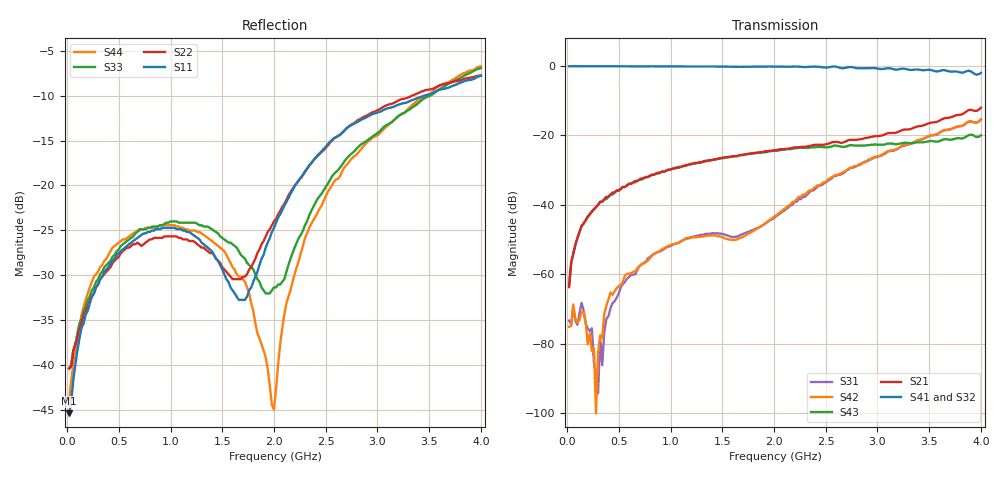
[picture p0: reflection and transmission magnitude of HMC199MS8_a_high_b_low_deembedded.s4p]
!Hittite Microwave Corporation
!12 Elizabeth Drive
!Chelmsford, MA 01824
!Tel: 978-250-3343
!Fax: 978-250-3373
!Device: HMC199MS8, DC-2.5GHz GaAs dual SPDT switch in 8 lead plastic surface mount Mini Small Outline Package
!Misc: Port 1 = RFC1, Port 2 = RFC2, Port 3 = RF2, Port 4 = RF1, CtlA high, CtlB low, Vctl=0/+5V
# MHZ S MA R 50
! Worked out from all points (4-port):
!   200 points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, 20 MHz to 4 GHz, reference 50 ohm
!   strongest paths, dB at 20 MHz, 1.02 GHz, 2.02 GHz, 3.02 GHz, 4 GHz:
!     S41: -0.1, -0.2, -0.2, -0.9, -2.0
!     S32: -0.1, -0.2, -0.3, -1.0, -2.1
!     S21: -63.7, -29.6, -24.3, -20.2, -12.1
!     S43: -63.0, -29.6, -24.4, -22.7, -20.0
!     S42: -75.1, -51.4, -43.1, -26.0, -15.5
!     S31: -73.4, -51.6, -43.4, -26.0, -15.4
!   lowest |S11| = -45.4 dB at 20 MHz (marker M1), VSWR 1.01, Z = 50.5 - j0.289 ohm
!   |S11| at or under -10 dB: start of sweep to 3.448 GHz
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20  0.005355 -32.3  0.0007054 67.4  0.0002603 -1.7  0.984 0.3
    0.000651 71.4  0.009529 -23.8  0.983 0.5  0.0002327 2.2
    0.0002138 -14.8  0.984 0.5  0.009529 -23.8  0.0007068 66.1
    0.984 0.3  0.0001749 -6.7  0.0007104 68.6  0.006353 -21.1
340  0.031 67.3  0.011 92.3  0.000105 151.7  0.985 -0.1
     0.011 92.2  0.031 58.0  0.985 0.1  0.00013 -156.5
     4.876e-05 152.2  0.985 0.0  0.033 55.1  0.011 85.1
     0.985 -0.2  0.0001201 -145.9  0.011 85.1  0.036 54.4
820  0.056 66.2  0.027 100.0  0.00184 172.5  0.983 0.1
     0.027 99.9  0.05 63.6  0.982 0.6  0.001868 170.5
     0.001845 173.6  0.982 0.7  0.059 48.1  0.027 81.8
     0.983 0.1  0.001852 169.9  0.027 81.8  0.058 40.5
1720  0.023 121.8  0.053 115.7  0.003898 -153.8  0.966 0.4
      0.053 115.6  0.031 118.7  0.968 1.5  0.003548 -149.8
      0.003907 -154.6  0.968 1.4  0.039 -7.5  0.053 70.9
      0.968 0.5  0.00357 -150.1  0.053 70.9  0.029 5.1
2000  0.058 163.6  0.061 121.3  0.00648 -120.5  0.979 -0.0
      0.061 121.4  0.063 154.4  0.979 1.2  0.00667 -116.7
      0.006426 -120.8  0.972 1.1  0.027 -79.4  0.06 65.3
      0.973 -0.2  0.006624 -116.9  0.06 65.2  0.005626 -94.4
2520  0.17 159.8  0.075 136.3  0.022 -101.7  0.943 -2.4
      0.075 136.8  0.167 159.7  0.943 -1.0  0.022 -101.6
      0.022 -100.5  0.947 0.0  0.102 -161.3  0.067 48.9
      0.946 -1.6  0.023 -100.6  0.067 49.3  0.092 -172.9
4000  0.409 132.4  0.25 176.4  0.167 -124.1  0.784 -8.6
      0.249 177.8  0.411 139.2  0.785 -5.7  0.168 -124.5
      0.169 -122.7  0.788 -4.5  0.452 165.0  0.102 -60.9
      0.79 -7.5  0.168 -123.4  0.1 -60.3  0.463 161.5
